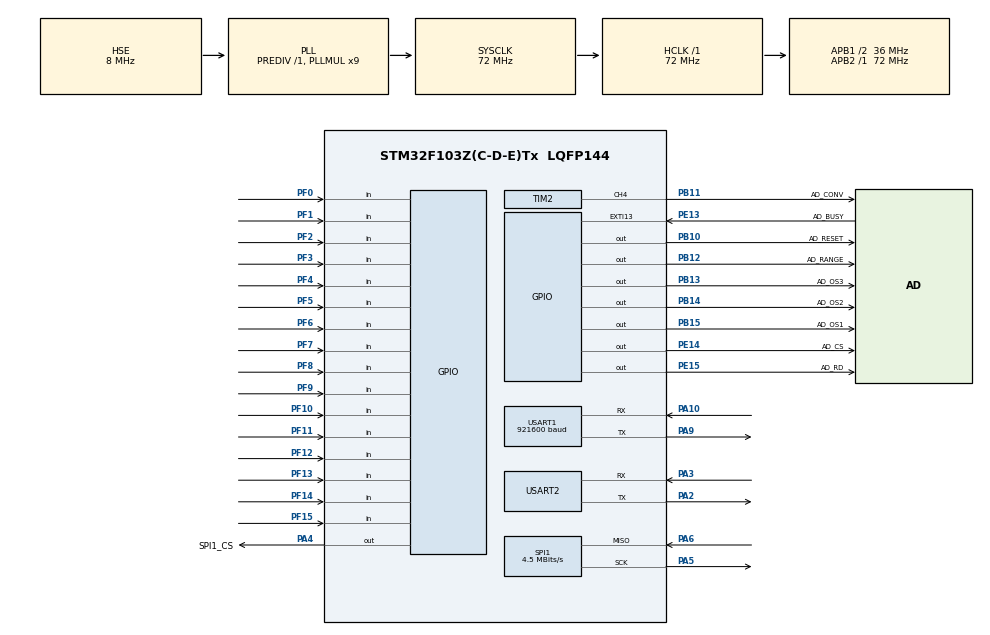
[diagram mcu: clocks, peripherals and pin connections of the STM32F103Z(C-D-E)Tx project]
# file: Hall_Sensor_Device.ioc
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Dma.Request0=SPI1_RX
Dma.Request1=USART1_TX
Dma.Request2=USART1_RX
Dma.Request3=USART2_RX
Dma.Request4=USART2_TX
Dma.SPI1_RX.0.Direction=DMA_PERIPH_TO_MEMORY
Dma.SPI1_RX.0.Instance=DMA1_Channel2
Dma.SPI1_RX.0.MemDataAlignment=DMA_MDATAALIGN_HALFWORD
Dma.SPI1_RX.0.MemInc=DMA_MINC_ENABLE
Dma.SPI1_RX.0.Mode=DMA_CIRCULAR
Dma.SPI1_RX.0.PeriphDataAlignment=DMA_PDATAALIGN_HALFWORD
Dma.SPI1_RX.0.PeriphInc=DMA_PINC_DISABLE
Dma.SPI1_RX.0.Priority=DMA_PRIORITY_LOW
Dma.USART1_RX.2.Direction=DMA_PERIPH_TO_MEMORY
Dma.USART1_RX.2.Instance=DMA1_Channel5
Dma.USART1_RX.2.MemDataAlignment=DMA_MDATAALIGN_BYTE
Dma.USART1_RX.2.MemInc=DMA_MINC_ENABLE
Dma.USART1_RX.2.Mode=DMA_CIRCULAR
Dma.USART1_RX.2.PeriphDataAlignment=DMA_PDATAALIGN_BYTE
Dma.USART1_RX.2.PeriphInc=DMA_PINC_DISABLE
Dma.USART1_RX.2.Priority=DMA_PRIORITY_LOW
Dma.USART1_TX.1.Direction=DMA_MEMORY_TO_PERIPH
Dma.USART1_TX.1.Instance=DMA1_Channel4
Dma.USART1_TX.1.MemDataAlignment=DMA_MDATAALIGN_BYTE
Dma.USART1_TX.1.MemInc=DMA_MINC_ENABLE
Dma.USART1_TX.1.Mode=DMA_NORMAL
Dma.USART1_TX.1.PeriphDataAlignment=DMA_PDATAALIGN_BYTE
Dma.USART1_TX.1.PeriphInc=DMA_PINC_DISABLE
Dma.USART1_TX.1.Priority=DMA_PRIORITY_LOW
Dma.USART2_RX.3.Direction=DMA_PERIPH_TO_MEMORY
Dma.USART2_RX.3.Instance=DMA1_Channel6
Dma.USART2_RX.3.MemDataAlignment=DMA_MDATAALIGN_BYTE
Dma.USART2_RX.3.MemInc=DMA_MINC_ENABLE
Dma.USART2_RX.3.Mode=DMA_CIRCULAR
Dma.USART2_RX.3.PeriphDataAlignment=DMA_PDATAALIGN_BYTE
Dma.USART2_RX.3.PeriphInc=DMA_PINC_DISABLE
Dma.USART2_RX.3.Priority=DMA_PRIORITY_LOW
Dma.USART2_TX.4.Direction=DMA_MEMORY_TO_PERIPH
Dma.USART2_TX.4.Instance=DMA1_Channel7
Dma.USART2_TX.4.MemDataAlignment=DMA_MDATAALIGN_BYTE
Dma.USART2_TX.4.MemInc=DMA_MINC_ENABLE
Dma.USART2_TX.4.Mode=DMA_NORMAL
Dma.USART2_TX.4.PeriphDataAlignment=DMA_PDATAALIGN_BYTE
Dma.USART2_TX.4.PeriphInc=DMA_PINC_DISABLE
Dma.USART2_TX.4.Priority=DMA_PRIORITY_LOW
Mcu.Family=STM32F1
Mcu.Name=STM32F103Z(C-D-E)Tx
Mcu.Package=LQFP144
NVIC.DMA1_Channel2_IRQn=true\:0\:0\:false\:false\:true\:false\:true\:true
NVIC.DMA1_Channel4_IRQn=true\:0\:0\:false\:false\:true\:false\:true\:true
NVIC.DMA1_Channel5_IRQn=true\:0\:0\:false\:false\:true\:false\:true\:true
NVIC.DMA1_Channel6_IRQn=true\:0\:0\:false\:false\:true\:false\:true\:true
NVIC.DMA1_Channel7_IRQn=true\:0\:0\:false\:false\:true\:false\:true\:true
NVIC.EXTI15_10_IRQn=true\:0\:0\:false\:false\:true\:true\:true\:true
NVIC.PriorityGroup=NVIC_PRIORITYGROUP_4
NVIC.USART1_IRQn=true\:5\:0\:true\:false\:true\:true\:true\:true
NVIC.USART2_IRQn=true\:5\:0\:true\:false\:true\:true\:true\:true
OSC_IN.Mode=HSE-External-Oscillator
OSC_IN.Signal=RCC_OSC_IN
OSC_OUT.Mode=HSE-External-Oscillator
OSC_OUT.Signal=RCC_OSC_OUT
PA10.Mode=Asynchronous
PA10.Signal=USART1_RX
PA13.Mode=Serial_Wire
PA13.Signal=SYS_JTMS-SWDIO
PA14.Mode=Serial_Wire
PA14.Signal=SYS_JTCK-SWCLK
PA2.Mode=Asynchronous
PA2.Signal=USART2_TX
PA3.Mode=Asynchronous
PA3.Signal=USART2_RX
PA4.GPIO_Label=SPI1_CS
PA4.Signal=GPIO_Output
PA5.Mode=RX_Only_Simplex_Unidirect_Master
PA5.Signal=SPI1_SCK
PA6.Mode=RX_Only_Simplex_Unidirect_Master
PA6.Signal=SPI1_MISO
PA9.Mode=Asynchronous
PA9.Signal=USART1_TX
PB10.GPIO_Label=AD_RESET
PB10.GPIO_PuPd=GPIO_PULLDOWN
PB10.Signal=GPIO_Output
PB11.GPIO_Label=AD_CONV
PB11.GPIO_Speed=GPIO_SPEED_FREQ_MEDIUM
PB11.Signal=S_TIM2_CH4
PB12.GPIO_Label=AD_RANGE
PB12.GPIO_PuPd=GPIO_PULLDOWN
PB12.Signal=GPIO_Output
PB13.GPIO_Label=AD_OS3
PB13.GPIO_PuPd=GPIO_PULLDOWN
PB13.Signal=GPIO_Output
PB14.GPIO_Label=AD_OS2
PB14.GPIO_PuPd=GPIO_PULLDOWN
PB14.Signal=GPIO_Output
PB15.GPIO_Label=AD_OS1
PB15.GPIO_PuPd=GPIO_PULLDOWN
PB15.Signal=GPIO_Output
PE13.GPIO_Label=AD_BUSY
PE13.GPIO_ModeDefaultEXTI=GPIO_MODE_IT_FALLING
PE13.GPIO_PuPd=GPIO_PULLUP
PE13.Signal=GPXTI13
PE14.GPIO_Label=AD_CS
PE14.GPIO_PuPd=GPIO_PULLUP
PE14.GPIO_Speed=GPIO_SPEED_FREQ_HIGH
PE14.PinState=GPIO_PIN_SET
PE14.Signal=GPIO_Output
PE15.GPIO_Label=AD_RD
PE15.GPIO_PuPd=GPIO_PULLUP
PE15.GPIO_Speed=GPIO_SPEED_FREQ_HIGH
PE15.PinState=GPIO_PIN_SET
PE15.Signal=GPIO_Output
PF0.GPIO_Mode=GPIO_MODE_INPUT
PF0.GPIO_PuPd=GPIO_PULLUP
PF0.Signal=GPIO_Input
PF1.GPIO_PuPd=GPIO_PULLUP
PF1.Signal=GPIO_Input
PF10.GPIO_PuPd=GPIO_PULLUP
PF10.Signal=GPIO_Input
PF11.GPIO_PuPd=GPIO_PULLUP
PF11.Signal=GPIO_Input
PF12.GPIO_PuPd=GPIO_PULLUP
PF12.Signal=GPIO_Input
PF13.GPIO_PuPd=GPIO_PULLUP
PF13.Signal=GPIO_Input
PF14.GPIO_PuPd=GPIO_PULLUP
PF14.Signal=GPIO_Input
PF15.GPIO_PuPd=GPIO_PULLUP
PF15.Signal=GPIO_Input
PF2.GPIO_PuPd=GPIO_PULLUP
PF2.Signal=GPIO_Input
PF3.GPIO_PuPd=GPIO_PULLUP
PF3.Signal=GPIO_Input
PF4.GPIO_PuPd=GPIO_PULLUP
PF4.Signal=GPIO_Input
PF5.GPIO_PuPd=GPIO_PULLUP
PF5.Signal=GPIO_Input
PF6.GPIO_PuPd=GPIO_PULLUP
PF6.Signal=GPIO_Input
PF7.GPIO_PuPd=GPIO_PULLUP
PF7.Signal=GPIO_Input
PF8.GPIO_PuPd=GPIO_PULLUP
PF8.Signal=GPIO_Input
PF9.GPIO_PuPd=GPIO_PULLUP
PF9.Signal=GPIO_Input
ProjectManager.HeapSize=0x200
ProjectManager.StackSize=0x400
ProjectManager.TargetToolchain=MDK-ARM V5.32
RCC.AHBFreq_Value=72000000
RCC.APB1CLKDivider=RCC_HCLK_DIV2
RCC.APB1Freq_Value=36000000
RCC.APB1TimFreq_Value=72000000
RCC.APB2Freq_Value=72000000
RCC.APB2TimFreq_Value=72000000
RCC.HCLKFreq_Value=72000000
RCC.PLLMUL=RCC_PLL_MUL9
RCC.PLLSourceVirtual=RCC_PLLSOURCE_HSE
RCC.SYSCLKFreq_VALUE=72000000
RCC.SYSCLKSource=RCC_SYSCLKSOURCE_PLLCLK
RCC.USBFreq_Value=72000000
SH.S_TIM2_CH4.0=TIM2_CH4,PWM Generation4 CH4
SPI1.BaudRatePrescaler=SPI_BAUDRATEPRESCALER_16
SPI1.CLKPolarity=SPI_POLARITY_HIGH
SPI1.CalculateBaudRate=4.5 MBits/s
SPI1.DataSize=SPI_DATASIZE_16BIT
SPI1.Direction=SPI_DIRECTION_2LINES_RXONLY
SPI1.Mode=SPI_MODE_MASTER
SPI1.VirtualType=VM_MASTER
TIM2.AutoReloadPreload=TIM_AUTORELOAD_PRELOAD_ENABLE
TIM2.Channel-PWM\ Generation4\ CH4=TIM_CHANNEL_4
TIM2.Period=99
TIM2.Prescaler=71
TIM2.Pulse-PWM\ Generation4\ CH4=50
TIM3.Prescaler=71
USART1.BaudRate=921600
USART1.VirtualMode=VM_ASYNC
USART2.VirtualMode=VM_ASYNC
VP_TIM3_VS_ClockSourceINT.Mode=Internal
board=custom

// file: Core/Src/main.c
/* USER CODE BEGIN Header */
/**
 ******************************************************************************
 * @file           : main.c
 * @brief          : Main program body
 ******************************************************************************
 * @attention
 *
 * Copyright (c) 2024 STMicroelectronics.
 * All rights reserved.
 *
 * This software is licensed under terms that can be found in the LICENSE file
 * in the root directory of this software component.
 * If no LICENSE file comes with this software, it is provided AS-IS.
 *
 ******************************************************************************
 */
/* USER CODE END Header */
#include "main.h"
#include "dma.h"
#include "spi.h"
#include "tim.h"
#include "usart.h"
#include "gpio.h"

/* USER CODE BEGIN Includes */
#include "string.h"
#include "AD7606.h"
#define Start_Sample 0x01
#define Stop_Sample  0x02
#define Calib_Zero_Bias   0x03
#define Sample_Freq 0x04
uint16_t Freq = 50;
union F
{
    char s[4];
    float samp_freq;
};
union F Sample_freq;
/* USER CODE END Includes */

void SystemClock_Config(void);

int main(void)
{

  /* MCU Configuration--------------------------------------------------------*/

  /* Reset of all peripherals, Initializes the Flash interface and the Systick. */
  HAL_Init();

  /* Configure the system clock */
  SystemClock_Config();

  /* Initialize all configured peripherals */
  MX_GPIO_Init();
  MX_DMA_Init();
  MX_SPI1_Init();
  MX_USART1_UART_Init();
  MX_USART2_UART_Init();
  MX_TIM2_Init();
  MX_TIM3_Init();
  /* USER CODE BEGIN 2 */
  AD7606_Init();

  /* USER CODE END 2 */

  /* Infinite loop */
  while (1)
  {

    /* USER CODE BEGIN 3 */
    if(usart1_rx_flag == 1)
    {
      if(uart1_rec_data[1] == Start_Sample)
      {
        Set_PWM_Freq(&htim2, Freq);
      }
      else if(uart1_rec_data[1] == Stop_Sample)
      {
        AD7606_StopConv();
      }
      else if(uart1_rec_data[1] == Calib_Zero_Bias)
      {
        CalBias_flag = 1;
      }
      else if(uart1_rec_data[1] == Sample_Freq)
      {
        Sample_freq.s[0] = uart1_rec_data[2];
				Sample_freq.s[1] = uart1_rec_data[3];
				Sample_freq.s[2] = uart1_rec_data[4];
				Sample_freq.s[3] = uart1_rec_data[5];
				Freq = Sample_freq.samp_freq;

      }
			usart1_rx_flag = 0;
			memset(uart1_rec_data,0,UART1_Rx_Buffer_Max_Num);//����������

    }
  }
  /* USER CODE END 3 */
}

void SystemClock_Config(void)
{
  RCC_OscInitTypeDef RCC_OscInitStruct = {0};
  RCC_ClkInitTypeDef RCC_ClkInitStruct = {0};

  /** Initializes the RCC Oscillators according to the specified parameters
   * in the RCC_OscInitTypeDef structure.
   */
  RCC_OscInitStruct.OscillatorType = RCC_OSCILLATORTYPE_HSE;
  RCC_OscInitStruct.HSEState = RCC_HSE_ON;
  RCC_OscInitStruct.HSEPredivValue = RCC_HSE_PREDIV_DIV1;
  RCC_OscInitStruct.HSIState = RCC_HSI_ON;
  RCC_OscInitStruct.PLL.PLLState = RCC_PLL_ON;
  RCC_OscInitStruct.PLL.PLLSource = RCC_PLLSOURCE_HSE;
  RCC_OscInitStruct.PLL.PLLMUL = RCC_PLL_MUL9;
  if (HAL_RCC_OscConfig(&RCC_OscInitStruct) != HAL_OK)
  {
    Error_Handler();
  }

  /** Initializes the CPU, AHB and APB buses clocks
   */
  RCC_ClkInitStruct.ClockType = RCC_CLOCKTYPE_HCLK | RCC_CLOCKTYPE_SYSCLK | RCC_CLOCKTYPE_PCLK1 | RCC_CLOCKTYPE_PCLK2;
  RCC_ClkInitStruct.SYSCLKSource = RCC_SYSCLKSOURCE_PLLCLK;
  RCC_ClkInitStruct.AHBCLKDivider = RCC_SYSCLK_DIV1;
  RCC_ClkInitStruct.APB1CLKDivider = RCC_HCLK_DIV2;
  RCC_ClkInitStruct.APB2CLKDivider = RCC_HCLK_DIV1;

  if (HAL_RCC_ClockConfig(&RCC_ClkInitStruct, FLASH_LATENCY_2) != HAL_OK)
  {
    Error_Handler();
  }
}

void Error_Handler(void)
{
  __disable_irq();
  while (1)
  {
  }
}
